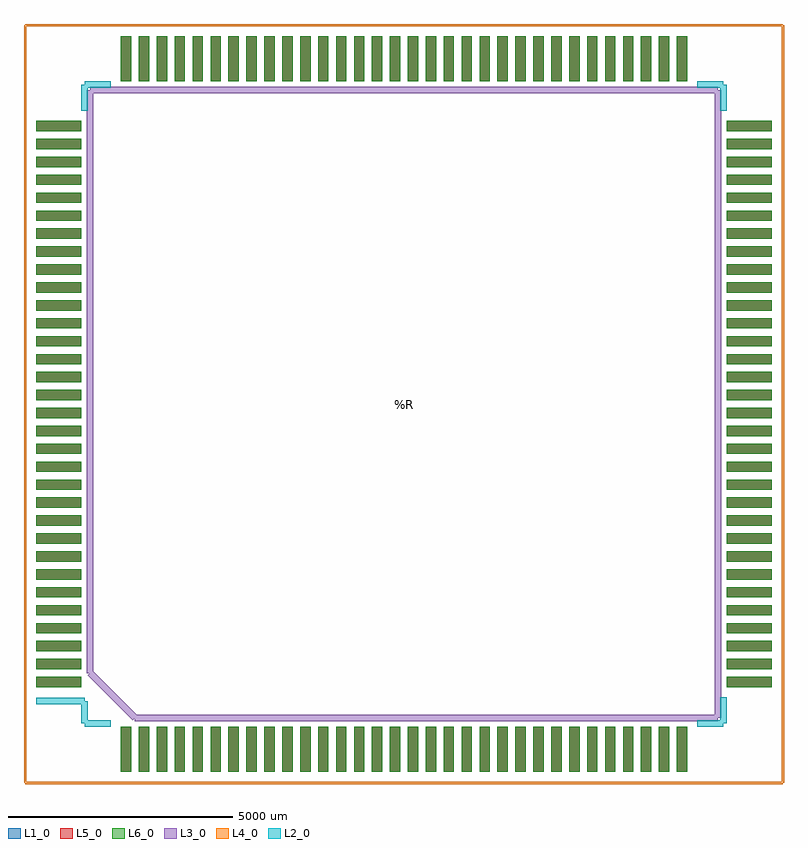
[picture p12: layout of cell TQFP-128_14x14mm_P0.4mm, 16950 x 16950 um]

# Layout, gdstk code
import gdstk
lib = gdstk.Library(unit=1e-6, precision=1e-09)
def R(c, l, rs):  # rectangles x0, y0, x1, y1
    for r in rs: c.add(gdstk.rectangle(r[:2], r[2:], *l))
def A(c, l, x, y, w, h, nx, ny, dx, dy):  # array of equal rectangles
    R(c, l, [(x+i*dx, y+j*dy, x+i*dx+w, y+j*dy+h) for i in range(nx) for j in range(ny)])
L1_0 = (1, 0)
L2_0 = (2, 0)
L3_0 = (3, 0)
L4_0 = (4, 0)
L5_0 = (5, 0)
L6_0 = (6, 0)

tqfp_128_14x14mm_p0_4mm = lib.new_cell('TQFP-128_14x14mm_P0.4mm')
A(tqfp_128_14x14mm_p0_4mm, L1_0, -6315, -8200, 230, 1000, 32, 2, 400, 15400)
A(tqfp_128_14x14mm_p0_4mm, L1_0, -8200, -6315, 1000, 230, 1, 32, 0, 400)
A(tqfp_128_14x14mm_p0_4mm, L1_0, 7200, -6315, 1000, 230, 1, 32, 0, 400)
A(tqfp_128_14x14mm_p0_4mm, L5_0, -6315, -8200, 230, 1000, 32, 2, 400, 15400)
A(tqfp_128_14x14mm_p0_4mm, L5_0, -8200, -6315, 1000, 230, 1, 32, 0, 400)
A(tqfp_128_14x14mm_p0_4mm, L5_0, 7200, -6315, 1000, 230, 1, 32, 0, 400)
A(tqfp_128_14x14mm_p0_4mm, L6_0, -6315, -8200, 230, 1000, 32, 2, 400, 15400)
A(tqfp_128_14x14mm_p0_4mm, L6_0, -8200, -6315, 1000, 230, 1, 32, 0, 400)
A(tqfp_128_14x14mm_p0_4mm, L6_0, 7200, -6315, 1000, 230, 1, 32, 0, 400)
tqfp_128_14x14mm_p0_4mm.add(gdstk.FlexPath([(-6000,-7000),(7000,-7000)], 150, ends="flush", simple_path=True, layer=3, datatype=0))  # L3_0
tqfp_128_14x14mm_p0_4mm.add(gdstk.FlexPath([(7000,-7000),(7000,7000)], 150, ends="flush", simple_path=True, layer=3, datatype=0))  # L3_0
tqfp_128_14x14mm_p0_4mm.add(gdstk.FlexPath([(7000,7000),(-7000,7000)], 150, ends="flush", simple_path=True, layer=3, datatype=0))  # L3_0
tqfp_128_14x14mm_p0_4mm.add(gdstk.FlexPath([(-7000,7000),(-7000,-6000)], 150, ends="flush", simple_path=True, layer=3, datatype=0))  # L3_0
tqfp_128_14x14mm_p0_4mm.add(gdstk.FlexPath([(-7000,-6000),(-6000,-7000)], 150, ends="flush", simple_path=True, layer=3, datatype=0))  # L3_0
tqfp_128_14x14mm_p0_4mm.add(gdstk.FlexPath([(-8450,-8450),(-8450,8450)], 50, ends="flush", simple_path=True, layer=4, datatype=0))  # L4_0
tqfp_128_14x14mm_p0_4mm.add(gdstk.FlexPath([(8450,-8450),(8450,8450)], 50, ends="flush", simple_path=True, layer=4, datatype=0))  # L4_0
tqfp_128_14x14mm_p0_4mm.add(gdstk.FlexPath([(-8450,-8450),(8450,-8450)], 50, ends="flush", simple_path=True, layer=4, datatype=0))  # L4_0
tqfp_128_14x14mm_p0_4mm.add(gdstk.FlexPath([(-8450,8450),(8450,8450)], 50, ends="flush", simple_path=True, layer=4, datatype=0))  # L4_0
tqfp_128_14x14mm_p0_4mm.add(gdstk.FlexPath([(-7125,-7125),(-7125,-6625)], 150, ends="flush", simple_path=True, layer=2, datatype=0))  # L2_0
tqfp_128_14x14mm_p0_4mm.add(gdstk.FlexPath([(7125,-7125),(7125,-6540)], 150, ends="flush", simple_path=True, layer=2, datatype=0))  # L2_0
tqfp_128_14x14mm_p0_4mm.add(gdstk.FlexPath([(7125,7125),(7125,6540)], 150, ends="flush", simple_path=True, layer=2, datatype=0))  # L2_0
tqfp_128_14x14mm_p0_4mm.add(gdstk.FlexPath([(-7125,7125),(-7125,6540)], 150, ends="flush", simple_path=True, layer=2, datatype=0))  # L2_0
tqfp_128_14x14mm_p0_4mm.add(gdstk.FlexPath([(-7125,-7125),(-6540,-7125)], 150, ends="flush", simple_path=True, layer=2, datatype=0))  # L2_0
tqfp_128_14x14mm_p0_4mm.add(gdstk.FlexPath([(-7125,7125),(-6540,7125)], 150, ends="flush", simple_path=True, layer=2, datatype=0))  # L2_0
tqfp_128_14x14mm_p0_4mm.add(gdstk.FlexPath([(7125,7125),(6540,7125)], 150, ends="flush", simple_path=True, layer=2, datatype=0))  # L2_0
tqfp_128_14x14mm_p0_4mm.add(gdstk.FlexPath([(7125,-7125),(6540,-7125)], 150, ends="flush", simple_path=True, layer=2, datatype=0))  # L2_0
tqfp_128_14x14mm_p0_4mm.add(gdstk.FlexPath([(-7125,-6625),(-8200,-6625)], 150, ends="flush", simple_path=True, layer=2, datatype=0))  # L2_0
tqfp_128_14x14mm_p0_4mm.add(gdstk.Label('REF**', (0,-9200), layer=2, texttype=0))
tqfp_128_14x14mm_p0_4mm.add(gdstk.Label('TQFP-128_14x14mm_P0.4mm', (0,9200), layer=3, texttype=0))
tqfp_128_14x14mm_p0_4mm.add(gdstk.Label('%R', (0,0), layer=3, texttype=0))

lib.write_gds('TQFP-128_14x14mm_P0.4mm.gds')
